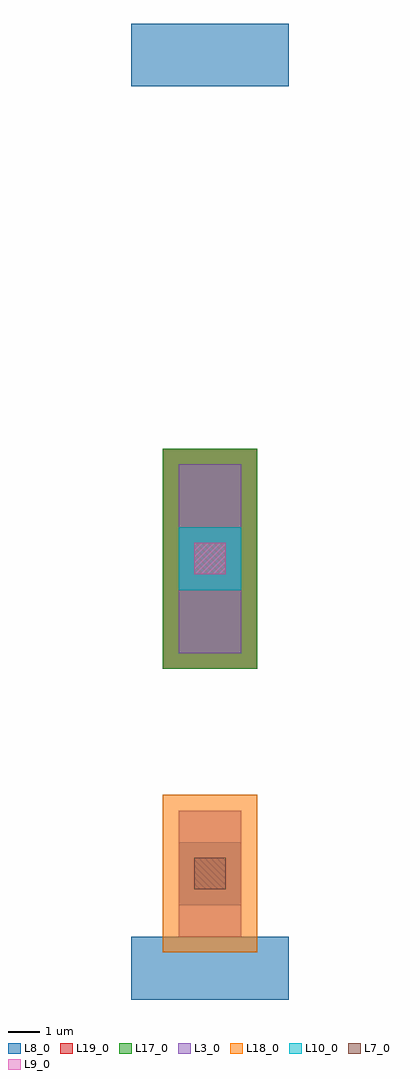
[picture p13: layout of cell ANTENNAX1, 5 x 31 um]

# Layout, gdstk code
import gdstk
lib = gdstk.Library(unit=1e-6, precision=1e-09)
def R(c, l, rs):  # rectangles x0, y0, x1, y1
    for r in rs: c.add(gdstk.rectangle(r[:2], r[2:], *l))
L3_0 = (3, 0)
L7_0 = (7, 0)
L8_0 = (8, 0)
L9_0 = (9, 0)
L10_0 = (10, 0)
L17_0 = (17, 0)
L18_0 = (18, 0)
L19_0 = (19, 0)

antennax1 = lib.new_cell('ANTENNAX1')
R(antennax1, L3_0, [(1,1,3,5), (1,10,3,16)])
R(antennax1, L7_0, [(1.5,2.5,2.5,3.5), (1.5,12.5,2.5,13.5)])
R(antennax1, L8_0, [(-0.5,-1,4.5,1), (1,2,3,4), (1,12,3,14), (-0.5,28,4.5,30)])
R(antennax1, L9_0, [(1.5,12.5,2.5,13.5)])
R(antennax1, L10_0, [(1,12,3,14)])
R(antennax1, L17_0, [(0.5,9.5,3.5,16.5)])
R(antennax1, L18_0, [(0.5,0.5,3.5,5.5)])
R(antennax1, L19_0, [(0.5,9.5,3.5,16.5)])

lib.write_gds('ANTENNAX1.gds')
